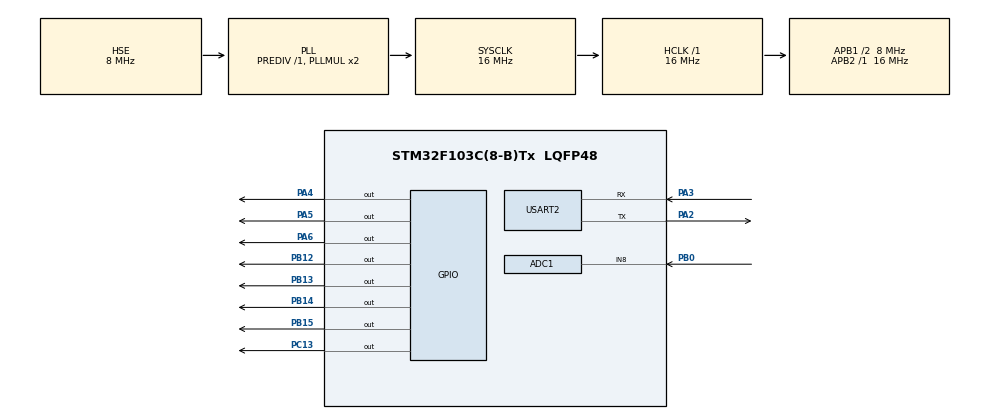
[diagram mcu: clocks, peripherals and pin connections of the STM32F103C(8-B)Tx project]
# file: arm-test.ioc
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ADC1.Channel-1\#ChannelRegularConversion=ADC_CHANNEL_8
ADC1.NbrOfConversionFlag=1
ADC1.Rank-1\#ChannelRegularConversion=1
ADC1.SamplingTime-1\#ChannelRegularConversion=ADC_SAMPLETIME_1CYCLE_5
ADC1.master=1
Dma.Request0=USART2_RX
Dma.USART2_RX.0.Direction=DMA_PERIPH_TO_MEMORY
Dma.USART2_RX.0.Instance=DMA1_Channel6
Dma.USART2_RX.0.MemDataAlignment=DMA_MDATAALIGN_BYTE
Dma.USART2_RX.0.MemInc=DMA_MINC_ENABLE
Dma.USART2_RX.0.Mode=DMA_NORMAL
Dma.USART2_RX.0.PeriphDataAlignment=DMA_PDATAALIGN_BYTE
Dma.USART2_RX.0.PeriphInc=DMA_PINC_DISABLE
Dma.USART2_RX.0.Priority=DMA_PRIORITY_LOW
Mcu.Family=STM32F1
Mcu.Name=STM32F103C(8-B)Tx
Mcu.Package=LQFP48
NVIC.DMA1_Channel6_IRQn=true\:0\:0\:false\:false\:true\:false\:true\:true
NVIC.PriorityGroup=NVIC_PRIORITYGROUP_4
NVIC.USART2_IRQn=true\:0\:0\:false\:false\:true\:true\:true\:true
PA13.Mode=Serial_Wire
PA13.Signal=SYS_JTMS-SWDIO
PA14.Mode=Serial_Wire
PA14.Signal=SYS_JTCK-SWCLK
PA2.Mode=Asynchronous
PA2.Signal=USART2_TX
PA3.Mode=Asynchronous
PA3.Signal=USART2_RX
PA4.Signal=GPIO_Output
PA5.Signal=GPIO_Output
PA6.Signal=GPIO_Output
PB0.Signal=ADCx_IN8
PB12.Signal=GPIO_Output
PB13.Signal=GPIO_Output
PB14.Signal=GPIO_Output
PB15.Signal=GPIO_Output
PC13-TAMPER-RTC.Signal=GPIO_Output
PD0-OSC_IN.Mode=HSE-External-Oscillator
PD0-OSC_IN.Signal=RCC_OSC_IN
PD1-OSC_OUT.Mode=HSE-External-Oscillator
PD1-OSC_OUT.Signal=RCC_OSC_OUT
ProjectManager.HeapSize=0x200
ProjectManager.StackSize=0x400
ProjectManager.TargetToolchain=STM32CubeIDE
RCC.AHBFreq_Value=16000000
RCC.APB1CLKDivider=RCC_HCLK_DIV2
RCC.APB1Freq_Value=8000000
RCC.APB1TimFreq_Value=16000000
RCC.APB2Freq_Value=16000000
RCC.APB2TimFreq_Value=16000000
RCC.HCLKFreq_Value=16000000
RCC.PLLSourceVirtual=RCC_PLLSOURCE_HSE
RCC.SYSCLKFreq_VALUE=16000000
RCC.SYSCLKSource=RCC_SYSCLKSOURCE_PLLCLK
RCC.USBFreq_Value=16000000
SH.ADCx_IN8.0=ADC2_IN8
SH.ADCx_IN8.1=ADC1_IN8,IN8
USART2.VirtualMode=VM_ASYNC
board=custom

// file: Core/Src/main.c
/* USER CODE BEGIN Header */
/**
  ******************************************************************************
  * @file           : main.c
  * @brief          : Main program body
  ******************************************************************************
  * @attention
  *
  * Copyright (c) 2023 STMicroelectronics.
  * All rights reserved.
  *
  * This software is licensed under terms that can be found in the LICENSE file
  * in the root directory of this software component.
  * If no LICENSE file comes with this software, it is provided AS-IS.
  *
  ******************************************************************************
  */
/* USER CODE END Header */
#include "main.h"

/* USER CODE BEGIN Includes */
#include <string.h>
#include <stdio.h>
/* USER CODE END Includes */

 ADC_HandleTypeDef hadc1;

UART_HandleTypeDef huart2;
DMA_HandleTypeDef hdma_usart2_rx;

void SystemClock_Config(void);
static void MX_GPIO_Init(void);
static void MX_DMA_Init(void);
static void MX_ADC1_Init(void);
static void MX_USART2_UART_Init(void);

/* USER CODE BEGIN 0 */

#define LED_ON    HAL_GPIO_WritePin(GPIOC, GPIO_PIN_13, 0)
#define LED_OFF   HAL_GPIO_WritePin(GPIOC, GPIO_PIN_13, 1)

#define RX1_Size 9
#define RX2_Size 5
uint8_t Rx1_Buff[RX1_Size];
uint8_t Rx2_Buff[RX2_Size];

uint16_t step_sens;

void delay(int min){
	for(register int i=0; i<min*3000; i++);
}
void update_sens(){
	HAL_ADC_Start(&hadc1);
	HAL_ADC_PollForConversion(&hadc1, HAL_MAX_DELAY);
	step_sens = HAL_ADC_GetValue(&hadc1);
}
void set_step_front(){
	HAL_GPIO_WritePin(GPIOA, GPIO_PIN_6, 0);
	update_sens();
	while(step_sens > 75){
		update_sens();
		HAL_GPIO_WritePin(GPIOA, GPIO_PIN_4, 1);
		delay(10);
		HAL_GPIO_WritePin(GPIOA, GPIO_PIN_4, 0);
		delay(10);
    }
	HAL_GPIO_WritePin(GPIOA, GPIO_PIN_6, 1);

}
void rotate_arm1(int dir, int pull){
	HAL_GPIO_WritePin(GPIOA, GPIO_PIN_5, dir);
	HAL_GPIO_WritePin(GPIOA, GPIO_PIN_6, 0);
	for(int i=0; i<pull; i++){
		HAL_GPIO_WritePin(GPIOA, GPIO_PIN_4, 1);
		delay(10);
		HAL_GPIO_WritePin(GPIOA, GPIO_PIN_4, 0);
		delay(10);
	}
	HAL_GPIO_WritePin(GPIOA, GPIO_PIN_6, 1);
}
void rotate_arm2(int dir){
	if(dir == 0){
		HAL_GPIO_WritePin(GPIOB, GPIO_PIN_12, 1);
		HAL_GPIO_WritePin(GPIOB, GPIO_PIN_13, 0);
	} else if(dir == 1){
		HAL_GPIO_WritePin(GPIOB, GPIO_PIN_12, 0);
		HAL_GPIO_WritePin(GPIOB, GPIO_PIN_13, 1);
	} else if(dir == 2){
		HAL_GPIO_WritePin(GPIOB, GPIO_PIN_12, 0);
		HAL_GPIO_WritePin(GPIOB, GPIO_PIN_13, 0);
	}
}
void rotate_arm3(int dir){
	if(dir == 0){
		HAL_GPIO_WritePin(GPIOB, GPIO_PIN_14, 1);
		HAL_GPIO_WritePin(GPIOB, GPIO_PIN_15, 0);
	} else if(dir == 1){
		HAL_GPIO_WritePin(GPIOB, GPIO_PIN_14, 0);
		HAL_GPIO_WritePin(GPIOB, GPIO_PIN_15, 1);
	} else if(dir == 2){
		HAL_GPIO_WritePin(GPIOB, GPIO_PIN_14, 0);
		HAL_GPIO_WritePin(GPIOB, GPIO_PIN_15, 0);
	}
}
void HAL_UARTEx_RxEventCallback(UART_HandleTypeDef *huart, uint16_t Size){
	LED_ON;
	if(huart->Instance == USART2){
		if(Rx2_Buff[0] == 'A' && Rx2_Buff[1] == '1'){
			rotate_arm1(Rx2_Buff[2] - '0', Rx2_Buff[3]);// | (Rx2_Buff[4] << 8));
		}
		if(Rx2_Buff[0] == 'A' && Rx2_Buff[1] == '2'){
			rotate_arm2(Rx2_Buff[2] - '0');
		}
		if(Rx2_Buff[0] == 'A' && Rx2_Buff[1] == '3'){
			rotate_arm3(Rx2_Buff[2] - '0');
		}
		if(Rx2_Buff[0] == 'S' && Rx2_Buff[1] == 'T'){
			set_step_front();
		}
		HAL_UARTEx_ReceiveToIdle_DMA(&huart2, Rx2_Buff, RX2_Size);
		__HAL_DMA_DISABLE_IT(&hdma_usart2_rx, DMA_IT_HT);
	}
}
/* USER CODE END 0 */

int main(void)
{

  /* MCU Configuration--------------------------------------------------------*/

  /* Reset of all peripherals, Initializes the Flash interface and the Systick. */
  HAL_Init();

  /* Configure the system clock */
  SystemClock_Config();

  /* Initialize all configured peripherals */
  MX_GPIO_Init();
  MX_DMA_Init();
  MX_ADC1_Init();
  MX_USART2_UART_Init();
  /* USER CODE BEGIN 2 */

//  set_step();
  for(int i=0; i<5; i++){
  	  HAL_Delay(100);
  	  HAL_GPIO_TogglePin(GPIOC, GPIO_PIN_13);
  }

  HAL_UARTEx_ReceiveToIdle_DMA(&huart2, Rx2_Buff, RX2_Size);
  __HAL_DMA_DISABLE_IT(&hdma_usart2_rx, DMA_IT_HT);
  HAL_GPIO_WritePin(GPIOA, GPIO_PIN_6, 1);
  LED_OFF;
//  set_step_front();

  /* USER CODE END 2 */

  /* Infinite loop */
  /* USER CODE BEGIN WHILE */
  while (1)
  {
	  update_sens();

    /* USER CODE END WHILE */

  }
}

void SystemClock_Config(void)
{
  RCC_OscInitTypeDef RCC_OscInitStruct = {0};
  RCC_ClkInitTypeDef RCC_ClkInitStruct = {0};
  RCC_PeriphCLKInitTypeDef PeriphClkInit = {0};

  /** Initializes the RCC Oscillators according to the specified parameters
  * in the RCC_OscInitTypeDef structure.
  */
  RCC_OscInitStruct.OscillatorType = RCC_OSCILLATORTYPE_HSE;
  RCC_OscInitStruct.HSEState = RCC_HSE_ON;
  RCC_OscInitStruct.HSEPredivValue = RCC_HSE_PREDIV_DIV1;
  RCC_OscInitStruct.HSIState = RCC_HSI_ON;
  RCC_OscInitStruct.PLL.PLLState = RCC_PLL_ON;
  RCC_OscInitStruct.PLL.PLLSource = RCC_PLLSOURCE_HSE;
  RCC_OscInitStruct.PLL.PLLMUL = RCC_PLL_MUL2;
  if (HAL_RCC_OscConfig(&RCC_OscInitStruct) != HAL_OK)
  {
    Error_Handler();
  }

  /** Initializes the CPU, AHB and APB buses clocks
  */
  RCC_ClkInitStruct.ClockType = RCC_CLOCKTYPE_HCLK|RCC_CLOCKTYPE_SYSCLK
                              |RCC_CLOCKTYPE_PCLK1|RCC_CLOCKTYPE_PCLK2;
  RCC_ClkInitStruct.SYSCLKSource = RCC_SYSCLKSOURCE_PLLCLK;
  RCC_ClkInitStruct.AHBCLKDivider = RCC_SYSCLK_DIV1;
  RCC_ClkInitStruct.APB1CLKDivider = RCC_HCLK_DIV2;
  RCC_ClkInitStruct.APB2CLKDivider = RCC_HCLK_DIV1;

  if (HAL_RCC_ClockConfig(&RCC_ClkInitStruct, FLASH_LATENCY_0) != HAL_OK)
  {
    Error_Handler();
  }
  PeriphClkInit.PeriphClockSelection = RCC_PERIPHCLK_ADC;
  PeriphClkInit.AdcClockSelection = RCC_ADCPCLK2_DIV2;
  if (HAL_RCCEx_PeriphCLKConfig(&PeriphClkInit) != HAL_OK)
  {
    Error_Handler();
  }
}

static void MX_ADC1_Init(void)
{

  ADC_ChannelConfTypeDef sConfig = {0};

  /** Common config
  */
  hadc1.Instance = ADC1;
  hadc1.Init.ScanConvMode = ADC_SCAN_DISABLE;
  hadc1.Init.ContinuousConvMode = DISABLE;
  hadc1.Init.DiscontinuousConvMode = DISABLE;
  hadc1.Init.ExternalTrigConv = ADC_SOFTWARE_START;
  hadc1.Init.DataAlign = ADC_DATAALIGN_RIGHT;
  hadc1.Init.NbrOfConversion = 1;
  if (HAL_ADC_Init(&hadc1) != HAL_OK)
  {
    Error_Handler();
  }

  /** Configure Regular Channel
  */
  sConfig.Channel = ADC_CHANNEL_8;
  sConfig.Rank = ADC_REGULAR_RANK_1;
  sConfig.SamplingTime = ADC_SAMPLETIME_1CYCLE_5;
  if (HAL_ADC_ConfigChannel(&hadc1, &sConfig) != HAL_OK)
  {
    Error_Handler();
  }

}

static void MX_USART2_UART_Init(void)
{

  huart2.Instance = USART2;
  huart2.Init.BaudRate = 115200;
  huart2.Init.WordLength = UART_WORDLENGTH_8B;
  huart2.Init.StopBits = UART_STOPBITS_1;
  huart2.Init.Parity = UART_PARITY_NONE;
  huart2.Init.Mode = UART_MODE_TX_RX;
  huart2.Init.HwFlowCtl = UART_HWCONTROL_NONE;
  huart2.Init.OverSampling = UART_OVERSAMPLING_16;
  if (HAL_UART_Init(&huart2) != HAL_OK)
  {
    Error_Handler();
  }

}

static void MX_DMA_Init(void)
{

  /* DMA controller clock enable */
  __HAL_RCC_DMA1_CLK_ENABLE();

  /* DMA interrupt init */
  /* DMA1_Channel6_IRQn interrupt configuration */
  HAL_NVIC_SetPriority(DMA1_Channel6_IRQn, 0, 0);
  HAL_NVIC_EnableIRQ(DMA1_Channel6_IRQn);

}

static void MX_GPIO_Init(void)
{
  GPIO_InitTypeDef GPIO_InitStruct = {0};

  /* GPIO Ports Clock Enable */
  __HAL_RCC_GPIOC_CLK_ENABLE();
  __HAL_RCC_GPIOD_CLK_ENABLE();
  __HAL_RCC_GPIOA_CLK_ENABLE();
  __HAL_RCC_GPIOB_CLK_ENABLE();

  /*Configure GPIO pin Output Level */
  HAL_GPIO_WritePin(GPIOC, GPIO_PIN_13, GPIO_PIN_RESET);

  /*Configure GPIO pin Output Level */
  HAL_GPIO_WritePin(GPIOA, GPIO_PIN_4|GPIO_PIN_5|GPIO_PIN_6, GPIO_PIN_RESET);

  /*Configure GPIO pin Output Level */
  HAL_GPIO_WritePin(GPIOB, GPIO_PIN_12|GPIO_PIN_13|GPIO_PIN_14|GPIO_PIN_15, GPIO_PIN_RESET);

  /*Configure GPIO pin : PC13 */
  GPIO_InitStruct.Pin = GPIO_PIN_13;
  GPIO_InitStruct.Mode = GPIO_MODE_OUTPUT_PP;
  GPIO_InitStruct.Pull = GPIO_NOPULL;
  GPIO_InitStruct.Speed = GPIO_SPEED_FREQ_LOW;
  HAL_GPIO_Init(GPIOC, &GPIO_InitStruct);

  /*Configure GPIO pins : PA4 PA5 PA6 */
  GPIO_InitStruct.Pin = GPIO_PIN_4|GPIO_PIN_5|GPIO_PIN_6;
  GPIO_InitStruct.Mode = GPIO_MODE_OUTPUT_PP;
  GPIO_InitStruct.Pull = GPIO_NOPULL;
  GPIO_InitStruct.Speed = GPIO_SPEED_FREQ_LOW;
  HAL_GPIO_Init(GPIOA, &GPIO_InitStruct);

  /*Configure GPIO pin : PB0 */
  GPIO_InitStruct.Pin = GPIO_PIN_0;
  GPIO_InitStruct.Mode = GPIO_MODE_ANALOG;
  HAL_GPIO_Init(GPIOB, &GPIO_InitStruct);

  /*Configure GPIO pins : PB12 PB13 PB14 PB15 */
  GPIO_InitStruct.Pin = GPIO_PIN_12|GPIO_PIN_13|GPIO_PIN_14|GPIO_PIN_15;
  GPIO_InitStruct.Mode = GPIO_MODE_OUTPUT_PP;
  GPIO_InitStruct.Pull = GPIO_NOPULL;
  GPIO_InitStruct.Speed = GPIO_SPEED_FREQ_LOW;
  HAL_GPIO_Init(GPIOB, &GPIO_InitStruct);

}

void Error_Handler(void)
{
  __disable_irq();
  while (1)
  {
  }
}
